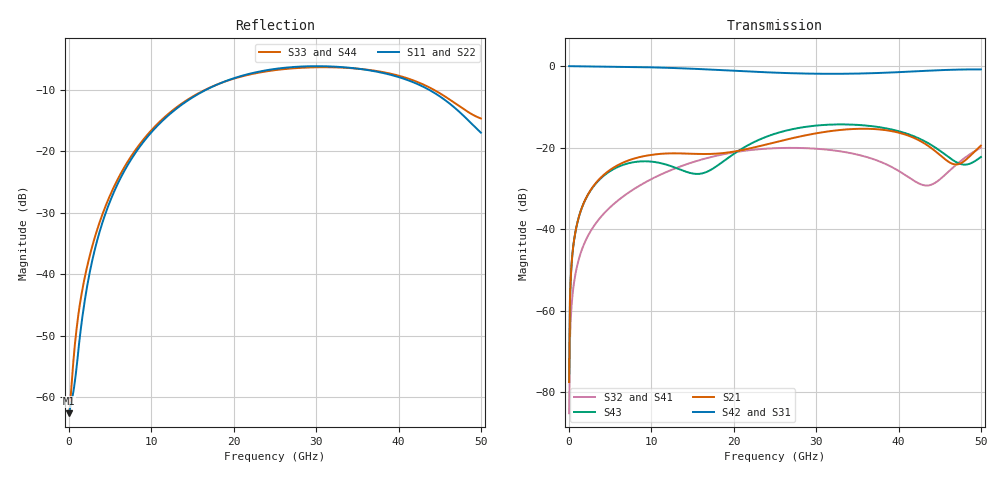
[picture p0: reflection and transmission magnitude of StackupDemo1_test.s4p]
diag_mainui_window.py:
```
"""验证主 UI 的频域窗下拉框：
  1) 切换到时域 → 频域窗下拉框显示且可选
  2) 选择不同窗 → 计算输出与 compute_time_domain(window_type=...) 一致
"""
import os, sys
import numpy as np

ROOT = os.path.dirname(os.path.dirname(os.path.abspath(__file__)))
sys.path.insert(0, ROOT)
os.environ.setdefault("SKRF_PLOT_ENV", "none")

from qtpy.QtWidgets import QApplication
from app_utils import configure_matplotlib

app = QApplication.instance() or QApplication(sys.argv)
configure_matplotlib()

from main_window import SParameterViewer_MainWin
from QS_domain.algorithms.time_domain import compute_time_domain

DEV_FILE = r"C:/Users/33202/Desktop/HFSS script/StackupDemo1_test.s4p"
viewer = SParameterViewer_MainWin(enable_time_domain=True)
# main_window 把 stdout 重定向到 GUI，恢复回真 stdout 让本脚本输出可见
sys.stdout = viewer._original_stdout
viewer.add_file_list_item(DEV_FILE)
viewer.file_list.item(0).setSelected(True)
viewer.port1_input.setText("1")
viewer.port2_input.setText("3")
# 触发缓存填充：s_data 是 lazy，要先 get_network
viewer.get_network(DEV_FILE)
viewer.show()  # 让 setVisible 生效
QApplication.processEvents()

# 1) 切到时域
viewer.param_type_combo.setCurrentText('时域')
print("时域窗下拉项:", [viewer._td_win_combo.itemText(i)
                       for i in range(viewer._td_win_combo.count())])
print(f"切到时域后默认: dt={viewer._td_dt_edit.text()}  tr={viewer._td_tr_edit.text()}  "
      f"UI宽度={viewer._td_pw_edit.text()}")

# 2) 选脉冲响应：Z0 应隐藏，UI宽度应显示
viewer.facet_combo.setCurrentText('脉冲响应')
print(f"facet=脉冲响应  Z0.visible={viewer._td_z0_edit.isVisible()}  "
      f"UI宽度.visible={viewer._td_pw_edit.isVisible()}")

# 2.5) 切到 TDR 阻抗：Z0 应显示，UI宽度应隐藏
viewer.facet_combo.setCurrentText('TDR阻抗')
print(f"facet=TDR阻抗  Z0.visible={viewer._td_z0_edit.isVisible()}  "
      f"UI宽度.visible={viewer._td_pw_edit.isVisible()}")

# 2.6) 关注频点驱动 UI 宽度默认：写 10 GHz，再切回时域应得到 1/(2*10G) = 50 ps
viewer.freG_input.setText("10")
viewer.param_type_combo.setCurrentText('S参数')
viewer.param_type_combo.setCurrentText('时域')
print(f"关注频点=10GHz 后切回时域: UI宽度={viewer._td_pw_edit.text()}  (期望 50)")

viewer.freG_input.setText("")
viewer.param_type_combo.setCurrentText('S参数')
viewer.param_type_combo.setCurrentText('时域')
print(f"关注频点清空后切回时域: UI宽度={viewer._td_pw_edit.text()}  (期望 30*dt)")

# 3) 准备到脉冲响应做计算
viewer.facet_combo.setCurrentText('脉冲响应')

# 3) 不同窗：对比主 UI 算的 line 数据 与 直接调用 compute_time_domain
network = viewer.get_network(DEV_FILE)
s_mat = viewer.get_param_matrix(DEV_FILE, 'S参数')
tr_ps = float(viewer._td_tr_edit.text())
dt_ps = float(viewer._td_dt_edit.text())
z0    = float(viewer._td_z0_edit.text())

_WIN_MAP = {"高斯": "gaussian", "矩形": "rect", "汉宁": "hanning",
            "汉明": "hamming",  "布莱克曼": "blackman",
            "Tukey": "tukey",   "Kaiser": "kaiser"}
print()
print(f"{'下拉框选项':<10s} {'压栈 window_type':<14s} {'y[0]':>12s} {'max':>10s}")
print("-" * 55)
for zh, en in _WIN_MAP.items():
    viewer._td_win_combo.setCurrentText(zh)
    r = compute_time_domain(network, 1, 3, "pulse",
                              tr_ps=tr_ps, dt_ps=dt_ps, z0=z0,
                              window_type=en, s_params=s_mat)
    print(f"{zh:<10s} {en:<14s} {r['y_data'][0]:>+12.4e} {r['y_data'].max():>10.4f}")

print()
print("主 UI 频域窗下拉框接线 OK")
```
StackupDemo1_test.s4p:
! Touchstone file exported from HFSS 2019.1.0
!  File:  C:/Users/33202/Desktop/HFSS script/StackupDemo1_test.aedt
!  Generated:  5:38:57 ä¸å  8æ 29, 2025
!  Design:  StackupDesign
!  Project:  StackupDemo1_test
!  Setup:  Setup1
!  Solution:  Sweep1
! Variables:
!  Position_via_L11 = 0um
!  Position_via_L16 = 0um
!  Position_via_L4 = 758um
!  Position_via_L8 = 336um
!  Position_via_L9 = 240um
!  R_L10_pad_out = 45um
!  R_L11_pad_in = 45um
!  R_L11_pad_out = 45um
!  R_L12_pad_out = 45um
!  R_L13_pad_out = 45um
!  R_L14_pad_out = 45um
!  R_L15_pad_out = 45um
!  R_L16_pad_in = 150um
!  R_L16_pad_out = 150um
!  R_L4_pad_in = 45um
!  R_L4_pad_out = 45um
!  R_L5_pad_out = 45um
!  R_L6_pad_out = 45um
!  R_L7_pad_out = 45um
!  R_L8_pad_in = 50um
!  R_L8_pad_out = 100um
!  R_L9_pad_in = 100um
!  R_L9_pad_out = 50um
!  R_anti_L11 = 90um
!  R_anti_L16 = 450um
!  R_anti_L4 = 90um
!  R_anti_L8 = 180um
!  R_anti_L9 = 90um
!  R_anti_pcb = 400um
!  R_bottom_anti = 450um
!  R_bottom_pad = 150um
!  R_core_anti = 180um
!  R_core_pad = 100um
!  R_core_via = 50um
!  R_micro_anti = 90um
!  R_micro_c_anti = 100um
!  R_micro_c_pad = 50um
!  R_micro_c_via = 30um
!  R_micro_pad = 45um
!  R_micro_via = 30um
!  R_pad_pcb = 150um
!  R_via_pcb = 50um
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# GHz S RI R
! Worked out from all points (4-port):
!   500 points, 10 MHz to 50 GHz, reference per port
!   strongest paths, dB at 10 MHz, 12.53 GHz, 25.06 GHz, 37.58 GHz, 50 GHz:
!     S42: 0.0, -0.4, -1.6, -1.7, -0.8
!     S31: 0.0, -0.4, -1.6, -1.7, -0.8
!     S21: -77.5, -21.4, -18.7, -15.5, -19.5
!     S43: -77.5, -24.6, -16.6, -15.0, -22.3
!     S32: -85.2, -25.4, -20.1, -23.3, -20.0
!     S41: -85.2, -25.4, -20.1, -23.3, -20.0
!   lowest |S11| = -62.7 dB at 10 MHz (marker M1), VSWR 1.00
!   |S11| at or under -10 dB: start of sweep to 16.55 GHz; 43.78 GHz to end of sweep
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0.01  0.000736 1.08e-05  3.92e-05 0.000127  0.9992 -0.00151  -3.79e-05 -3.97e-05
      3.92e-05 0.000127  0.000736 1.08e-05  -3.79e-05 -3.97e-05  0.9992 -0.00151
      0.9992 -0.00151  -3.79e-05 -3.97e-05  0.000737 1e-05  3.93e-05 0.000127
      -3.79e-05 -3.97e-05  0.9992 -0.00151  3.93e-05 0.000127  0.000736 9.97e-06
6.321363  -0.0542 0.0301  0.0377 0.0516  0.6236 -0.7589  -0.0183 -0.0156
          0.0377 0.0516  -0.0543 0.0301  -0.0183 -0.0156  0.6235 -0.759
          0.6236 -0.7589  -0.0183 -0.0156  0.0171 -0.0647  0.0547 0.0251
          -0.0183 -0.0156  0.6235 -0.759  0.0547 0.0251  0.0171 -0.0647
50  -0.1337 0.0489  0.1049 0.014  0.8416 -0.3508  -0.0297 -0.0953
    0.1049 0.014  -0.1332 0.0497  -0.0297 -0.0954  0.8415 -0.3511
    0.8416 -0.3508  -0.0297 -0.0954  0.1797 -0.0474  -0.0562 0.0523
    -0.0297 -0.0953  0.8415 -0.3511  -0.0562 0.0523  0.18 -0.0466
